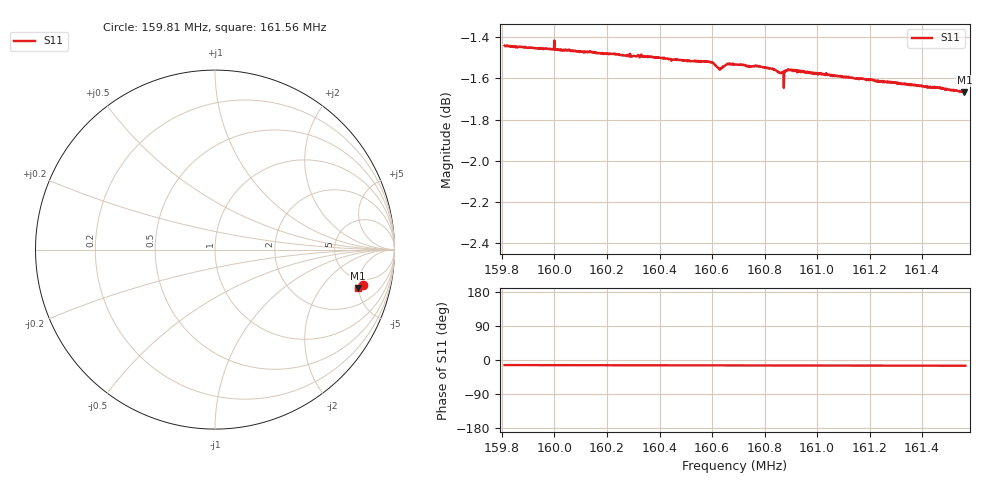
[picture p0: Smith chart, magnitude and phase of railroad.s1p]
! Calibrated averaged scanner-service zoom
# Hz S RI R 50
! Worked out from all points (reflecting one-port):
!   1001 points, 159.81 MHz to 161.56 MHz, reference 50 ohm
!   lowest |S11| = -1.7 dB at 161.56 MHz (marker M1), VSWR 10.45, Z = 182 - j246 ohm
!   phase of S11 starts at -13 deg and turns -2 deg over the sweep
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1.5981e8  0.8243 -0.1958
1.599855e8  0.8221 -0.1982
1.600048e8  0.8219 -0.1982
1.600101e8  0.8217 -0.1987
1.600294e8  0.8211 -0.1986
1.602488e8  0.8182 -0.2016
1.603365e8  0.8172 -0.2025
1.604681e8  0.8151 -0.2043
1.60598e8  0.8138 -0.2056
1.606296e8  0.8108 -0.2027
1.606366e8  0.8114 -0.2036
1.606629e8  0.8125 -0.2065
1.606875e8  0.8123 -0.2069
1.607402e8  0.8115 -0.2076
1.607717e8  0.8116 -0.2075
1.608226e8  0.8101 -0.2082
1.608384e8  0.8093 -0.2087
1.60856e8  0.8073 -0.2106
1.60863e8  0.8071 -0.2108
1.608648e8  0.8072 -0.2113
1.608823e8  0.809 -0.2094
1.608841e8  0.8087 -0.2088
1.609069e8  0.809 -0.209
1.611262e8  0.8048 -0.2114
1.613456e8  0.8008 -0.2135
1.614685e8  0.7994 -0.2142
1.615615e8  0.7968 -0.215
1.61565e8  0.797 -0.2147
